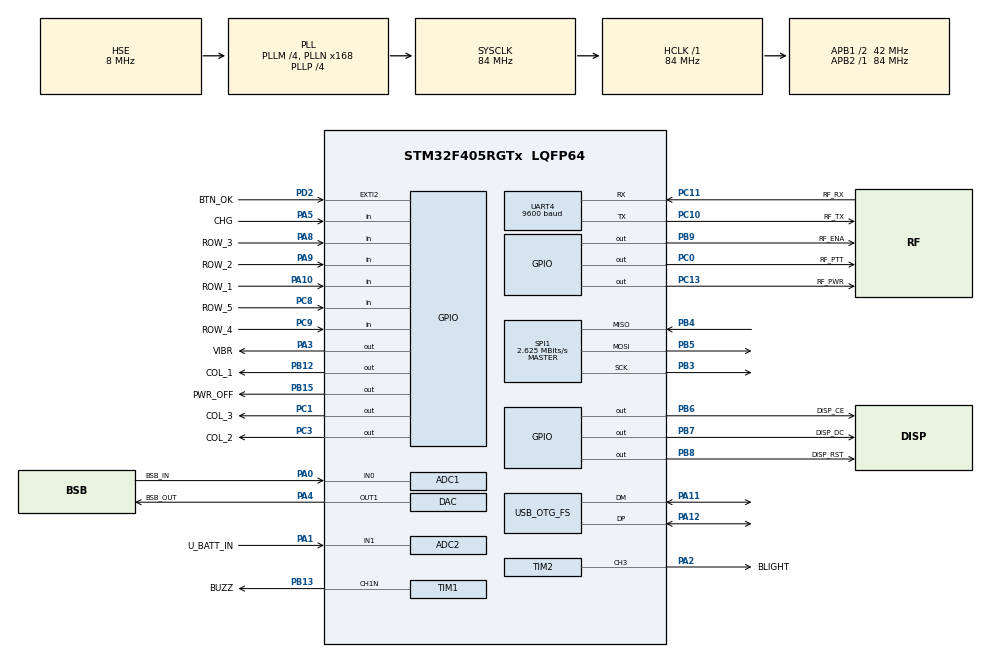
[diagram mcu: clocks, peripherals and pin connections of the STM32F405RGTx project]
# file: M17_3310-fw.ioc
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ADC1.Channel-0\#ChannelRegularConversion=ADC_CHANNEL_0
ADC1.ContinuousConvMode=DISABLE
ADC1.DMAContinuousRequests=ENABLE
ADC1.DiscontinuousConvMode=DISABLE
ADC1.EOCSelection=ADC_EOC_SINGLE_CONV
ADC1.ExternalTrigConv=ADC_EXTERNALTRIGCONV_T8_TRGO
ADC1.InjNumberOfConversion=0
ADC1.NbrOfConversion=1
ADC1.NbrOfConversionFlag=1
ADC1.Rank-0\#ChannelRegularConversion=1
ADC1.SamplingTime-0\#ChannelRegularConversion=ADC_SAMPLETIME_84CYCLES
ADC1.master=1
ADC2.Channel-0\#ChannelRegularConversion=ADC_CHANNEL_1
ADC2.DMAContinuousRequests=ENABLE
ADC2.ExternalTrigConv=ADC_EXTERNALTRIGCONV_T3_TRGO
ADC2.NbrOfConversionFlag=1
ADC2.Rank-0\#ChannelRegularConversion=1
ADC2.SamplingTime-0\#ChannelRegularConversion=ADC_SAMPLETIME_3CYCLES
DAC.DAC_Trigger=DAC_TRIGGER_T6_TRGO
Dma.ADC1.1.Direction=DMA_PERIPH_TO_MEMORY
Dma.ADC1.1.FIFOMode=DMA_FIFOMODE_DISABLE
Dma.ADC1.1.Instance=DMA2_Stream0
Dma.ADC1.1.MemDataAlignment=DMA_MDATAALIGN_HALFWORD
Dma.ADC1.1.MemInc=DMA_MINC_ENABLE
Dma.ADC1.1.Mode=DMA_CIRCULAR
Dma.ADC1.1.PeriphDataAlignment=DMA_PDATAALIGN_HALFWORD
Dma.ADC1.1.PeriphInc=DMA_PINC_DISABLE
Dma.ADC1.1.Priority=DMA_PRIORITY_LOW
Dma.ADC2.2.Direction=DMA_PERIPH_TO_MEMORY
Dma.ADC2.2.FIFOMode=DMA_FIFOMODE_DISABLE
Dma.ADC2.2.Instance=DMA2_Stream2
Dma.ADC2.2.MemDataAlignment=DMA_MDATAALIGN_HALFWORD
Dma.ADC2.2.MemInc=DMA_MINC_ENABLE
Dma.ADC2.2.Mode=DMA_CIRCULAR
Dma.ADC2.2.PeriphDataAlignment=DMA_PDATAALIGN_HALFWORD
Dma.ADC2.2.PeriphInc=DMA_PINC_DISABLE
Dma.ADC2.2.Priority=DMA_PRIORITY_LOW
Dma.DAC1.0.Direction=DMA_MEMORY_TO_PERIPH
Dma.DAC1.0.FIFOMode=DMA_FIFOMODE_DISABLE
Dma.DAC1.0.Instance=DMA1_Stream5
Dma.DAC1.0.MemDataAlignment=DMA_MDATAALIGN_HALFWORD
Dma.DAC1.0.MemInc=DMA_MINC_ENABLE
Dma.DAC1.0.Mode=DMA_CIRCULAR
Dma.DAC1.0.PeriphDataAlignment=DMA_PDATAALIGN_HALFWORD
Dma.DAC1.0.PeriphInc=DMA_PINC_DISABLE
Dma.DAC1.0.Priority=DMA_PRIORITY_LOW
Dma.Request0=DAC1
Dma.Request1=ADC1
Dma.Request2=ADC2
Mcu.Family=STM32F4
Mcu.Name=STM32F405RGTx
Mcu.Package=LQFP64
NVIC.ADC_IRQn=true\:0\:0\:false\:false\:true\:true\:true\:true
NVIC.DMA1_Stream5_IRQn=true\:0\:0\:false\:false\:true\:false\:true\:true
NVIC.DMA2_Stream0_IRQn=true\:0\:0\:false\:false\:true\:false\:true\:true
NVIC.DMA2_Stream2_IRQn=true\:0\:0\:false\:false\:true\:false\:true\:true
NVIC.OTG_FS_IRQn=true\:0\:0\:false\:false\:true\:true\:true\:true
NVIC.PriorityGroup=NVIC_PRIORITYGROUP_4
NVIC.TIM3_IRQn=true\:0\:0\:false\:false\:true\:true\:true\:true
NVIC.TIM6_DAC_IRQn=true\:0\:0\:false\:false\:true\:true\:true\:true
NVIC.TIM7_IRQn=true\:0\:0\:false\:false\:true\:true\:true\:true
NVIC.TIM8_TRG_COM_TIM14_IRQn=true\:0\:0\:false\:false\:true\:true\:true\:true
NVIC.TIM8_UP_TIM13_IRQn=true\:0\:0\:false\:false\:true\:true\:true\:true
PA0-WKUP.GPIO_Label=BSB_IN
PA0-WKUP.Signal=ADCx_IN0
PA1.GPIO_Label=U_BATT_IN
PA1.Signal=ADCx_IN1
PA10.GPIO_Label=ROW_1
PA10.GPIO_PuPd=GPIO_NOPULL
PA10.Signal=GPIO_Input
PA11.Mode=Device_Only
PA11.Signal=USB_OTG_FS_DM
PA12.Mode=Device_Only
PA12.Signal=USB_OTG_FS_DP
PA13.Mode=Serial_Wire
PA13.Signal=SYS_JTMS-SWDIO
PA14.Mode=Serial_Wire
PA14.Signal=SYS_JTCK-SWCLK
PA2.GPIO_Label=BLIGHT
PA2.Signal=S_TIM2_CH3
PA3.GPIO_Label=VIBR
PA3.Signal=GPIO_Output
PA4.GPIO_Label=BSB_OUT
PA4.Signal=COMP_DAC1_group
PA5.GPIO_Label=CHG
PA5.Signal=GPIO_Input
PA8.GPIO_Label=ROW_3
PA8.GPIO_PuPd=GPIO_NOPULL
PA8.Signal=GPIO_Input
PA9.GPIO_Label=ROW_2
PA9.GPIO_PuPd=GPIO_NOPULL
PA9.Signal=GPIO_Input
PB12.GPIO_Label=COL_1
PB12.GPIO_Speed=GPIO_SPEED_FREQ_VERY_HIGH
PB12.Signal=GPIO_Output
PB13.GPIO_Label=BUZZ
PB13.Mode=PWM Generation1 CH1N
PB13.Signal=TIM1_CH1N
PB15.GPIO_Label=PWR_OFF
PB15.Signal=GPIO_Output
PB3.Mode=Full_Duplex_Master
PB3.Signal=SPI1_SCK
PB4.Mode=Full_Duplex_Master
PB4.Signal=SPI1_MISO
PB5.Mode=Full_Duplex_Master
PB5.Signal=SPI1_MOSI
PB6.GPIO_Label=DISP_CE
PB6.GPIO_Speed=GPIO_SPEED_FREQ_VERY_HIGH
PB6.Signal=GPIO_Output
PB7.GPIO_Label=DISP_DC
PB7.GPIO_Speed=GPIO_SPEED_FREQ_VERY_HIGH
PB7.Signal=GPIO_Output
PB8.GPIO_Label=DISP_RST
PB8.GPIO_Speed=GPIO_SPEED_FREQ_VERY_HIGH
PB8.Signal=GPIO_Output
PB9.GPIO_Label=RF_ENA
PB9.Signal=GPIO_Output
PC0.GPIO_Label=RF_PTT
PC0.GPIO_Speed=GPIO_SPEED_FREQ_LOW
PC0.PinState=GPIO_PIN_SET
PC0.Signal=GPIO_Output
PC1.GPIO_Label=COL_3
PC1.GPIO_Speed=GPIO_SPEED_FREQ_VERY_HIGH
PC1.Signal=GPIO_Output
PC10.GPIO_Label=RF_TX
PC10.Mode=Asynchronous
PC10.Signal=UART4_TX
PC11.GPIO_Label=RF_RX
PC11.Mode=Asynchronous
PC11.Signal=UART4_RX
PC13-ANTI_TAMP.GPIO_Label=RF_PWR
PC13-ANTI_TAMP.PinState=GPIO_PIN_SET
PC13-ANTI_TAMP.Signal=GPIO_Output
PC3.GPIO_Label=COL_2
PC3.GPIO_Speed=GPIO_SPEED_FREQ_VERY_HIGH
PC3.Signal=GPIO_Output
PC8.GPIO_Label=ROW_5
PC8.Signal=GPIO_Input
PC9.GPIO_Label=ROW_4
PC9.Signal=GPIO_Input
PD2.GPIO_Label=BTN_OK
PD2.GPIO_PuPd=GPIO_PULLDOWN
PD2.Signal=GPXTI2
PH0-OSC_IN.Mode=HSE-External-Oscillator
PH0-OSC_IN.Signal=RCC_OSC_IN
PH1-OSC_OUT.Mode=HSE-External-Oscillator
PH1-OSC_OUT.Signal=RCC_OSC_OUT
ProjectManager.HeapSize=0x200
ProjectManager.StackSize=0x400
ProjectManager.TargetToolchain=STM32CubeIDE
RCC.48MHZClocksFreq_Value=48000000
RCC.AHBFreq_Value=84000000
RCC.APB1CLKDivider=RCC_HCLK_DIV2
RCC.APB1Freq_Value=42000000
RCC.APB1TimFreq_Value=84000000
RCC.APB2CLKDivider=RCC_HCLK_DIV1
RCC.APB2Freq_Value=84000000
RCC.APB2TimFreq_Value=84000000
RCC.CortexFreq_Value=84000000
RCC.HCLKFreq_Value=84000000
RCC.HSE_VALUE=8000000
RCC.HSI_VALUE=16000000
RCC.LSE_VALUE=32768
RCC.PLLM=4
RCC.PLLN=168
RCC.PLLP=RCC_PLLP_DIV4
RCC.PLLQ=7
RCC.RCC_RTC_Clock_Source=RCC_RTCCLKSOURCE_LSI
RCC.RCC_RTC_Clock_SourceVirtual=RCC_RTCCLKSOURCE_HSE_DIV25
RCC.RCC_RTC_Clock_Source_FROM_HSE=RCC_RTCCLKSOURCE_HSE_DIV25
RCC.SYSCLKFreq_VALUE=84000000
RCC.SYSCLKSource=RCC_SYSCLKSOURCE_PLLCLK
RCC.VCOOutputFreq_Value=336000000
SH.ADCx_IN0.0=ADC1_IN0,IN0
SH.ADCx_IN1.0=ADC2_IN1,IN1
SH.COMP_DAC1_group.0=DAC_OUT1,DAC_OUT1
SH.S_TIM2_CH3.0=TIM2_CH3,PWM Generation3 CH3
SPI1.BaudRatePrescaler=SPI_BAUDRATEPRESCALER_32
SPI1.CalculateBaudRate=2.625 MBits/s
SPI1.Direction=SPI_DIRECTION_2LINES
SPI1.Mode=SPI_MODE_MASTER
SPI1.VirtualType=VM_MASTER
TIM1.AutoReloadPreload=TIM_AUTORELOAD_PRELOAD_ENABLE
TIM1.Channel-PWM\ Generation1\ CH1N=TIM_CHANNEL_1
TIM1.OCNPolarity_1=TIM_OCNPOLARITY_LOW
TIM1.Period=10-1
TIM1.Prescaler=8400-1
TIM1.Pulse-PWM\ Generation1\ CH1N=4
TIM14.AutoReloadPreload=TIM_AUTORELOAD_PRELOAD_DISABLE
TIM14.Period=42000-1
TIM14.Prescaler=2000-1
TIM2.AutoReloadPreload=TIM_AUTORELOAD_PRELOAD_ENABLE
TIM2.Channel-PWM\ Generation3\ CH3=TIM_CHANNEL_3
TIM2.Period=256-1
TIM2.Prescaler=35-1
TIM3.Period=16800-1
TIM3.Prescaler=2000-1
TIM3.TIM_MasterOutputTrigger=TIM_TRGO_UPDATE
TIM6.Period=1750-1
TIM6.Prescaler=1-1
TIM6.TIM_MasterOutputTrigger=TIM_TRGO_UPDATE
TIM7.Period=5000-1
TIM7.Prescaler=8400-1
TIM7.TIM_MasterOutputTrigger=TIM_TRGO_UPDATE
TIM8.Period=3500-1
TIM8.Prescaler=1-1
TIM8.TIM_MasterOutputTrigger=TIM_TRGO_UPDATE
UART4.BaudRate=9600
UART4.VirtualMode=Asynchronous
USB_DEVICE.CLASS_NAME_FS=CDC
USB_DEVICE.PRODUCT_STRING_CDC_FS=STM32 Virtual ComPort
USB_DEVICE.VirtualMode-CDC_FS=Cdc
USB_DEVICE.VirtualModeFS=Cdc_FS
USB_OTG_FS.VirtualMode=Device_Only
VP_RTC_VS_RTC_Activate.Mode=RTC_Enabled
VP_RTC_VS_RTC_Calendar.Mode=RTC_Calendar
VP_TIM14_VS_ClockSourceINT.Mode=Enable_Timer
VP_TIM1_VS_ClockSourceINT.Mode=Internal
VP_TIM2_VS_ClockSourceINT.Mode=Internal
VP_TIM3_VS_ClockSourceINT.Mode=Internal
VP_TIM6_VS_ClockSourceINT.Mode=Enable_Timer
VP_TIM7_VS_ClockSourceINT.Mode=Enable_Timer
VP_TIM8_VS_ClockSourceINT.Mode=Internal
VP_USB_DEVICE_VS_USB_DEVICE_CDC_FS.Mode=CDC_FS
board=custom

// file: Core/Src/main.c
/* USER CODE BEGIN Header */
/**
  ******************************************************************************
  * @file           : main.c
  * @brief          : Main program body
  ******************************************************************************
  * @attention
  *
  * Copyright (c) 2024 STMicroelectronics.
  * All rights reserved.
  *
  * This software is licensed under terms that can be found in the LICENSE file
  * in the root directory of this software component.
  * If no LICENSE file comes with this software, it is provided AS-IS.
  *
  ******************************************************************************
  */
/* USER CODE END Header */
#include "main.h"
#include "usb_device.h"

/* USER CODE BEGIN Includes */
#include "typedefs.h"
#include "keymaps.h"
#include "menus.h"
#include "settings.h"
#include "ring.h"
#include "display.h"
#include "dsp.h"
#include "platform.h"
#include "keypad.h"
#include "ringtones.h"
#include "rf_module.h"
#include "nvmem.h"
#include "usb_cmds.h"
#include "text_entry.h"
#include "debug.h"
#include "m17_tx.h"
#include "m17_rx.h"
#include "ui.h"
#include "inbox.h"
#include "tuning.h"
#include "codeplug.h"
/* USER CODE END Includes */

/* USER CODE BEGIN PM */
#include "macros.h"
/* USER CODE END PM */

ADC_HandleTypeDef hadc1;
ADC_HandleTypeDef hadc2;
DMA_HandleTypeDef hdma_adc1;
DMA_HandleTypeDef hdma_adc2;

DAC_HandleTypeDef hdac;
DMA_HandleTypeDef hdma_dac1;

RTC_HandleTypeDef hrtc;

SPI_HandleTypeDef hspi1;

TIM_HandleTypeDef htim1;
TIM_HandleTypeDef htim2;
TIM_HandleTypeDef htim3;
TIM_HandleTypeDef htim6;
TIM_HandleTypeDef htim7;
TIM_HandleTypeDef htim8;
TIM_HandleTypeDef htim14;

UART_HandleTypeDef huart4;

/* USER CODE BEGIN PV */
//display
uint8_t disp_buff[DISP_BUFF_SIZ];
disp_dev_t disp_dev;

//usb-related (filled by CDC_Receive_FS)
uint8_t usb_rx[APP_RX_DATA_SIZE + 1];
uint32_t usb_len;
volatile uint8_t usb_drdy;

//default channel settings
const ch_settings_t def_channel =
{
	RF_MODE_DIG,
	RF_BW_12K5,
	RF_PWR_LOW,
	"M17 IARU R1",
	433475000,
	433475000,
	"@ALL",
	0
};

dev_settings_t def_dev_settings =
{
	.src_callsign = "N0KIA",
	.welcome_msg = {"OpenRTX", "rulez"},

	.backlight_level = 200,
	.backlight_timer = 5,
	.backlight_always = 0,
	.kbd_timeout = 750,
	.kbd_delay = 150,
	.freq_corr = 0.0f,

	.tuning_mode = TUNING_VFO,
	.channel = def_channel,
	.ch_num = 0,

	.refl_name = "@ALL",

	.ext =
	{
		.vfo = def_channel,
		.vfo_step = VFO_STEP_DEFAULT,
		.splash_time = 2,
		.contrast = LCD_CONTRAST_DEFAULT,
		.ringtone = 1,
		.vibration = 1,
		.ukrainian = 0
	}
};

dev_settings_t dev_settings;

//radio
radio_state_t radio_state;

//ADC
volatile uint16_t batt_adc;
/* USER CODE END PV */

void SystemClock_Config(void);
static void MX_GPIO_Init(void);
static void MX_DMA_Init(void);
static void MX_ADC1_Init(void);
static void MX_DAC_Init(void);
static void MX_RTC_Init(void);
static void MX_TIM1_Init(void);
static void MX_TIM2_Init(void);
static void MX_UART4_Init(void);
static void MX_SPI1_Init(void);
static void MX_TIM7_Init(void);
static void MX_TIM6_Init(void);
static void MX_TIM14_Init(void);
static void MX_TIM8_Init(void);
static void MX_ADC2_Init(void);
static void MX_TIM3_Init(void);

/* USER CODE BEGIN 0 */
//sleep until the next interrupt if there is nothing to do
//SysTick (1 ms), DMA, USB and timer interrupts wake the core up
static void idleSleep(void)
{
	uint16_t batch = m17RxSamplesNeeded();
	if (batch < 120) //process RX samples in batches of ~5 ms
		batch = 120;

	__disable_irq();
	if (!m17TxRefillPending() && !usb_drdy &&
		(radio_state != RF_RX || demodSamplesGetNum() < batch))
	{
		__DSB();
		__WFI(); //a pending interrupt wakes the core even with PRIMASK set
	}
	__enable_irq();
}
/* USER CODE END 0 */

int main(void)
{

  /* MCU Configuration--------------------------------------------------------*/

  /* Reset of all peripherals, Initializes the Flash interface and the Systick. */
  HAL_Init();

  /* Configure the system clock */
  SystemClock_Config();

  /* Initialize all configured peripherals */
  MX_GPIO_Init();
  MX_DMA_Init();
  MX_ADC1_Init();
  MX_DAC_Init();
  MX_RTC_Init();
  MX_TIM1_Init();
  MX_TIM2_Init();
  MX_UART4_Init();
  MX_SPI1_Init();
  MX_TIM7_Init();
  MX_USB_DEVICE_Init();
  MX_TIM6_Init();
  MX_TIM14_Init();
  MX_TIM8_Init();
  MX_ADC2_Init();
  MX_TIM3_Init();
  /* USER CODE BEGIN 2 */
  #if (__FPU_PRESENT == 1) && (__FPU_USED == 1)
  SCB->CPACR |= ((3UL << 20U)|(3UL << 22U));  /* set CP10 and CP11 Full Access */
  #endif

  #ifdef DEBUG
  DBGMCU->CR |= DBGMCU_CR_DBG_SLEEP; //keep the debugger connected during WFI
  #endif

  //12-bit backlight PWM
  backlightInit();

  //set baseband DAC to idle (TIM6 runs only during transmissions)
  m17TxInit();

  //start battery voltage sampling
  HAL_ADC_Start_DMA(&hadc2, (uint32_t*)&batt_adc, 1);
  HAL_TIM_Base_Start(&htim3); // 5Hz for battery voltage sampling

  HAL_Delay(200);

  //init display
  disp_dev = (disp_dev_t){&hspi1, disp_buff};
  dispInit(&disp_dev);
  dispClear(&disp_dev, 0);
  dispFlush(&disp_dev);
  setBacklight(0);

  //load settings from NVMEM
  loadDeviceSettings(&dev_settings, &def_dev_settings);
  codeplugLoad();
  tuneInit(&dev_settings); //active channel: VFO or memory
  dispSetContrast(&disp_dev, dev_settings.ext.contrast);

  //display splash screen (the slow initialization below runs meanwhile)
  uint32_t splash_start = HAL_GetTick();
  if (dev_settings.ext.splash_time)
	  dispSplash(&disp_dev, dev_settings.welcome_msg[0], dev_settings.welcome_msg[1], dev_settings.src_callsign);

  //turn on backlight if required
  setBacklight(dev_settings.backlight_level);
  setBacklightTimer(dev_settings.backlight_timer);
  if(!dev_settings.backlight_always)
  {
	  //enable backlight timeout
	  startBacklightTimer();
  }

  //init SA868S RF module
  radio_state = RF_RX;
  initRF(&dev_settings);
  setRF(radio_state);
  chBwRF(RF_BW_25K); //TODO: get rid of this workaround

  //start baseband sampling (24kHz ADC)
  m17RxReset();
  bsbRxStart();

  //keypad timeout
  setKeysTimeout(dev_settings.kbd_timeout);

  //stored messages
  inboxInit();

  //keep the splash screen up for the configured time, any key skips it
  if (dev_settings.ext.splash_time)
  {
	  while ((HAL_GetTick() - splash_start) < (uint32_t)dev_settings.ext.splash_time * 1000U)
	  {
		  if (scanKeys(radio_state, dev_settings.kbd_delay) != KEY_NONE)
			  break;
		  demodResync(); //nobody processes the RX samples yet
	  }

	  //don't let the key that skipped the splash act on the main screen
	  uint32_t t0 = HAL_GetTick();
	  while (keyHeld() && (HAL_GetTick() - t0) < 1000U)
		  ;
  }
  demodResync();

  //menu init
  uiInit(&disp_dev);
  dispFlush(&disp_dev);

  //start the watchdog after the (slow) initialization
  wdgInit();

  uint32_t t_last = HAL_GetTick();
  /* USER CODE END 2 */

  /* Infinite loop */
  /* USER CODE BEGIN WHILE */
  while(1)
  {
	  uint32_t t_now = HAL_GetTick();

	  wdgKick();

	  //handle key presses
	  uiHandleKey(scanKeys(radio_state, dev_settings.kbd_delay));

	  //once per second
	  if (t_now - t_last >= 1000)
	  {
		  t_last = t_now;

		  if (radio_state == RF_RX)
		  {
			  //refresh main screen data
			  uiSecondTick();

			  //protect the battery from deep discharge
			  if (battCheckEmpty())
			  {
				  setBacklight(dev_settings.backlight_level);
				  dispClear(&disp_dev, COL_WHITE);
				  setString(&disp_dev, 0, 17, &nokia_big, "Batt empty", COL_BLACK, ALIGN_CENTER);
				  dispFlush(&disp_dev);
				  HAL_Delay(2000);
				  powerOff();
			  }
		  }
	  }

	  //packet transmission in progress - refill the baseband buffer
	  if (m17TxProcess())
	  {
		  //done
		  uiTxDone();
	  }

	  //received data over USB (deferred while transmitting - Flash writes
	  //and RF register access would disturb the transmission)
	  if (usb_drdy && !m17TxActive())
	  {
		  parseUSB(usb_rx, usb_len);
		  usb_drdy = 0;
	  }

	  //demodulate baseband samples
	  if (radio_state == RF_RX && m17RxProcess())
	  {
		  inboxAdd(&rcvd_msg);
		  uiMessageReceived();
	  }

	  ringtoneTick();
	  uiTick();
	  platformTick();

	  //send the frame buffer to the display (if anything has changed)
	  dispFlush(&disp_dev);

	  idleSleep();
    /* USER CODE END WHILE */

  }
}

void SystemClock_Config(void)
{
  RCC_OscInitTypeDef RCC_OscInitStruct = {0};
  RCC_ClkInitTypeDef RCC_ClkInitStruct = {0};

  /** Configure the main internal regulator output voltage
  */
  __HAL_RCC_PWR_CLK_ENABLE();
  __HAL_PWR_VOLTAGESCALING_CONFIG(PWR_REGULATOR_VOLTAGE_SCALE1);

  /** Initializes the RCC Oscillators according to the specified parameters
  * in the RCC_OscInitTypeDef structure.
  */
  RCC_OscInitStruct.OscillatorType = RCC_OSCILLATORTYPE_LSI|RCC_OSCILLATORTYPE_HSE;
  RCC_OscInitStruct.HSEState = RCC_HSE_ON;
  RCC_OscInitStruct.LSIState = RCC_LSI_ON;
  RCC_OscInitStruct.PLL.PLLState = RCC_PLL_ON;
  RCC_OscInitStruct.PLL.PLLSource = RCC_PLLSOURCE_HSE;
  RCC_OscInitStruct.PLL.PLLM = 4;
  RCC_OscInitStruct.PLL.PLLN = 168;
  RCC_OscInitStruct.PLL.PLLP = RCC_PLLP_DIV4;
  RCC_OscInitStruct.PLL.PLLQ = 7;
  if (HAL_RCC_OscConfig(&RCC_OscInitStruct) != HAL_OK)
  {
    Error_Handler();
  }

  /** Initializes the CPU, AHB and APB buses clocks
  */
  RCC_ClkInitStruct.ClockType = RCC_CLOCKTYPE_HCLK|RCC_CLOCKTYPE_SYSCLK
                              |RCC_CLOCKTYPE_PCLK1|RCC_CLOCKTYPE_PCLK2;
  RCC_ClkInitStruct.SYSCLKSource = RCC_SYSCLKSOURCE_PLLCLK;
  RCC_ClkInitStruct.AHBCLKDivider = RCC_SYSCLK_DIV1;
  RCC_ClkInitStruct.APB1CLKDivider = RCC_HCLK_DIV2;
  RCC_ClkInitStruct.APB2CLKDivider = RCC_HCLK_DIV1;

  if (HAL_RCC_ClockConfig(&RCC_ClkInitStruct, FLASH_LATENCY_2) != HAL_OK)
  {
    Error_Handler();
  }
}

static void MX_ADC1_Init(void)
{

  ADC_ChannelConfTypeDef sConfig = {0};

  /** Configure the global features of the ADC (Clock, Resolution, Data Alignment and number of conversion)
  */
  hadc1.Instance = ADC1;
  hadc1.Init.ClockPrescaler = ADC_CLOCK_SYNC_PCLK_DIV4;
  hadc1.Init.Resolution = ADC_RESOLUTION_12B;
  hadc1.Init.ScanConvMode = DISABLE;
  hadc1.Init.ContinuousConvMode = DISABLE;
  hadc1.Init.DiscontinuousConvMode = DISABLE;
  hadc1.Init.ExternalTrigConvEdge = ADC_EXTERNALTRIGCONVEDGE_RISING;
  hadc1.Init.ExternalTrigConv = ADC_EXTERNALTRIGCONV_T8_TRGO;
  hadc1.Init.DataAlign = ADC_DATAALIGN_RIGHT;
  hadc1.Init.NbrOfConversion = 1;
  hadc1.Init.DMAContinuousRequests = ENABLE;
  hadc1.Init.EOCSelection = ADC_EOC_SINGLE_CONV;
  if (HAL_ADC_Init(&hadc1) != HAL_OK)
  {
    Error_Handler();
  }

  /** Configure for the selected ADC regular channel its corresponding rank in the sequencer and its sample time.
  */
  sConfig.Channel = ADC_CHANNEL_0;
  sConfig.Rank = 1;
  sConfig.SamplingTime = ADC_SAMPLETIME_84CYCLES;
  if (HAL_ADC_ConfigChannel(&hadc1, &sConfig) != HAL_OK)
  {
    Error_Handler();
  }

}

static void MX_ADC2_Init(void)
{

  ADC_ChannelConfTypeDef sConfig = {0};

  /** Configure the global features of the ADC (Clock, Resolution, Data Alignment and number of conversion)
  */
  hadc2.Instance = ADC2;
  hadc2.Init.ClockPrescaler = ADC_CLOCK_SYNC_PCLK_DIV4;
  hadc2.Init.Resolution = ADC_RESOLUTION_12B;
  hadc2.Init.ScanConvMode = DISABLE;
  hadc2.Init.ContinuousConvMode = DISABLE;
  hadc2.Init.DiscontinuousConvMode = DISABLE;
  hadc2.Init.ExternalTrigConvEdge = ADC_EXTERNALTRIGCONVEDGE_RISING;
  hadc2.Init.ExternalTrigConv = ADC_EXTERNALTRIGCONV_T3_TRGO;
  hadc2.Init.DataAlign = ADC_DATAALIGN_RIGHT;
  hadc2.Init.NbrOfConversion = 1;
  hadc2.Init.DMAContinuousRequests = ENABLE;
  hadc2.Init.EOCSelection = ADC_EOC_SINGLE_CONV;
  if (HAL_ADC_Init(&hadc2) != HAL_OK)
  {
    Error_Handler();
  }

  /** Configure for the selected ADC regular channel its corresponding rank in the sequencer and its sample time.
  */
  sConfig.Channel = ADC_CHANNEL_1;
  sConfig.Rank = 1;
  sConfig.SamplingTime = ADC_SAMPLETIME_3CYCLES;
  if (HAL_ADC_ConfigChannel(&hadc2, &sConfig) != HAL_OK)
  {
    Error_Handler();
  }

}

static void MX_DAC_Init(void)
{

  DAC_ChannelConfTypeDef sConfig = {0};

  /** DAC Initialization
  */
  hdac.Instance = DAC;
  if (HAL_DAC_Init(&hdac) != HAL_OK)
  {
    Error_Handler();
  }

  /** DAC channel OUT1 config
  */
  sConfig.DAC_Trigger = DAC_TRIGGER_T6_TRGO;
  sConfig.DAC_OutputBuffer = DAC_OUTPUTBUFFER_ENABLE;
  if (HAL_DAC_ConfigChannel(&hdac, &sConfig, DAC_CHANNEL_1) != HAL_OK)
  {
    Error_Handler();
  }

}

static void MX_RTC_Init(void)
{

  RTC_TimeTypeDef sTime = {0};
  RTC_DateTypeDef sDate = {0};

  /** Initialize RTC Only
  */
  hrtc.Instance = RTC;
  hrtc.Init.HourFormat = RTC_HOURFORMAT_24;
  hrtc.Init.AsynchPrediv = 127;
  hrtc.Init.SynchPrediv = 255;
  hrtc.Init.OutPut = RTC_OUTPUT_DISABLE;
  hrtc.Init.OutPutPolarity = RTC_OUTPUT_POLARITY_HIGH;
  hrtc.Init.OutPutType = RTC_OUTPUT_TYPE_OPENDRAIN;
  if (HAL_RTC_Init(&hrtc) != HAL_OK)
  {
    Error_Handler();
  }

  /** Initialize RTC and set the Time and Date
  */
  sTime.Hours = 0x0;
  sTime.Minutes = 0x0;
  sTime.Seconds = 0x0;
  sTime.DayLightSaving = RTC_DAYLIGHTSAVING_NONE;
  sTime.StoreOperation = RTC_STOREOPERATION_RESET;
  if (HAL_RTC_SetTime(&hrtc, &sTime, RTC_FORMAT_BCD) != HAL_OK)
  {
    Error_Handler();
  }
  sDate.WeekDay = RTC_WEEKDAY_MONDAY;
  sDate.Month = RTC_MONTH_JANUARY;
  sDate.Date = 0x1;
  sDate.Year = 0x0;

  if (HAL_RTC_SetDate(&hrtc, &sDate, RTC_FORMAT_BCD) != HAL_OK)
  {
    Error_Handler();
  }

}

static void MX_SPI1_Init(void)
{

  /* SPI1 parameter configuration*/
  hspi1.Instance = SPI1;
  hspi1.Init.Mode = SPI_MODE_MASTER;
  hspi1.Init.Direction = SPI_DIRECTION_2LINES;
  hspi1.Init.DataSize = SPI_DATASIZE_8BIT;
  hspi1.Init.CLKPolarity = SPI_POLARITY_LOW;
  hspi1.Init.CLKPhase = SPI_PHASE_1EDGE;
  hspi1.Init.NSS = SPI_NSS_SOFT;
  hspi1.Init.BaudRatePrescaler = SPI_BAUDRATEPRESCALER_32;
  hspi1.Init.FirstBit = SPI_FIRSTBIT_MSB;
  hspi1.Init.TIMode = SPI_TIMODE_DISABLE;
  hspi1.Init.CRCCalculation = SPI_CRCCALCULATION_DISABLE;
  hspi1.Init.CRCPolynomial = 10;
  if (HAL_SPI_Init(&hspi1) != HAL_OK)
  {
    Error_Handler();
  }

}

static void MX_TIM1_Init(void)
{

  TIM_ClockConfigTypeDef sClockSourceConfig = {0};
  TIM_MasterConfigTypeDef sMasterConfig = {0};
  TIM_OC_InitTypeDef sConfigOC = {0};
  TIM_BreakDeadTimeConfigTypeDef sBreakDeadTimeConfig = {0};

  htim1.Instance = TIM1;
  htim1.Init.Prescaler = 8400-1;
  htim1.Init.CounterMode = TIM_COUNTERMODE_UP;
  htim1.Init.Period = 10-1;
  htim1.Init.ClockDivision = TIM_CLOCKDIVISION_DIV1;
  htim1.Init.RepetitionCounter = 0;
  htim1.Init.AutoReloadPreload = TIM_AUTORELOAD_PRELOAD_ENABLE;
  if (HAL_TIM_Base_Init(&htim1) != HAL_OK)
  {
    Error_Handler();
  }
  sClockSourceConfig.ClockSource = TIM_CLOCKSOURCE_INTERNAL;
  if (HAL_TIM_ConfigClockSource(&htim1, &sClockSourceConfig) != HAL_OK)
  {
    Error_Handler();
  }
  if (HAL_TIM_PWM_Init(&htim1) != HAL_OK)
  {
    Error_Handler();
  }
  sMasterConfig.MasterOutputTrigger = TIM_TRGO_RESET;
  sMasterConfig.MasterSlaveMode = TIM_MASTERSLAVEMODE_DISABLE;
  if (HAL_TIMEx_MasterConfigSynchronization(&htim1, &sMasterConfig) != HAL_OK)
  {
    Error_Handler();
  }
  sConfigOC.OCMode = TIM_OCMODE_PWM1;
  sConfigOC.Pulse = 4;
  sConfigOC.OCPolarity = TIM_OCPOLARITY_HIGH;
  sConfigOC.OCNPolarity = TIM_OCNPOLARITY_LOW;
  sConfigOC.OCFastMode = TIM_OCFAST_DISABLE;
  sConfigOC.OCIdleState = TIM_OCIDLESTATE_RESET;
  sConfigOC.OCNIdleState = TIM_OCNIDLESTATE_RESET;
  if (HAL_TIM_PWM_ConfigChannel(&htim1, &sConfigOC, TIM_CHANNEL_1) != HAL_OK)
  {
    Error_Handler();
  }
  sBreakDeadTimeConfig.OffStateRunMode = TIM_OSSR_DISABLE;
  sBreakDeadTimeConfig.OffStateIDLEMode = TIM_OSSI_DISABLE;
  sBreakDeadTimeConfig.LockLevel = TIM_LOCKLEVEL_OFF;
  sBreakDeadTimeConfig.DeadTime = 0;
  sBreakDeadTimeConfig.BreakState = TIM_BREAK_DISABLE;
  sBreakDeadTimeConfig.BreakPolarity = TIM_BREAKPOLARITY_HIGH;
  sBreakDeadTimeConfig.AutomaticOutput = TIM_AUTOMATICOUTPUT_DISABLE;
  if (HAL_TIMEx_ConfigBreakDeadTime(&htim1, &sBreakDeadTimeConfig) != HAL_OK)
  {
    Error_Handler();
  }
  HAL_TIM_MspPostInit(&htim1);

}

static void MX_TIM2_Init(void)
{

  TIM_ClockConfigTypeDef sClockSourceConfig = {0};
  TIM_MasterConfigTypeDef sMasterConfig = {0};
  TIM_OC_InitTypeDef sConfigOC = {0};

  htim2.Instance = TIM2;
  htim2.Init.Prescaler = 35-1;
  htim2.Init.CounterMode = TIM_COUNTERMODE_UP;
  htim2.Init.Period = 256-1;
  htim2.Init.ClockDivision = TIM_CLOCKDIVISION_DIV1;
  htim2.Init.AutoReloadPreload = TIM_AUTORELOAD_PRELOAD_ENABLE;
  if (HAL_TIM_Base_Init(&htim2) != HAL_OK)
  {
    Error_Handler();
  }
  sClockSourceConfig.ClockSource = TIM_CLOCKSOURCE_INTERNAL;
  if (HAL_TIM_ConfigClockSource(&htim2, &sClockSourceConfig) != HAL_OK)
  {
    Error_Handler();
  }
  if (HAL_TIM_PWM_Init(&htim2) != HAL_OK)
  {
    Error_Handler();
  }
  sMasterConfig.MasterOutputTrigger = TIM_TRGO_RESET;
  sMasterConfig.MasterSlaveMode = TIM_MASTERSLAVEMODE_DISABLE;
  if (HAL_TIMEx_MasterConfigSynchronization(&htim2, &sMasterConfig) != HAL_OK)
  {
    Error_Handler();
  }
  sConfigOC.OCMode = TIM_OCMODE_PWM1;
  sConfigOC.Pulse = 0;
  sConfigOC.OCPolarity = TIM_OCPOLARITY_HIGH;
  sConfigOC.OCFastMode = TIM_OCFAST_DISABLE;
  if (HAL_TIM_PWM_ConfigChannel(&htim2, &sConfigOC, TIM_CHANNEL_3) != HAL_OK)
  {
    Error_Handler();
  }
  HAL_TIM_MspPostInit(&htim2);

}

static void MX_TIM3_Init(void)
{

  TIM_ClockConfigTypeDef sClockSourceConfig = {0};
  TIM_MasterConfigTypeDef sMasterConfig = {0};

  htim3.Instance = TIM3;
  htim3.Init.Prescaler = 2000-1;
  htim3.Init.CounterMode = TIM_COUNTERMODE_UP;
  htim3.Init.Period = 16800-1;
  htim3.Init.ClockDivision = TIM_CLOCKDIVISION_DIV1;
  htim3.Init.AutoReloadPreload = TIM_AUTORELOAD_PRELOAD_DISABLE;
  if (HAL_TIM_Base_Init(&htim3) != HAL_OK)
  {
    Error_Handler();
  }
  sClockSourceConfig.ClockSource = TIM_CLOCKSOURCE_INTERNAL;
  if (HAL_TIM_ConfigClockSource(&htim3, &sClockSourceConfig) != HAL_OK)
  {
    Error_Handler();
  }
  sMasterConfig.MasterOutputTrigger = TIM_TRGO_UPDATE;
  sMasterConfig.MasterSlaveMode = TIM_MASTERSLAVEMODE_DISABLE;
  if (HAL_TIMEx_MasterConfigSynchronization(&htim3, &sMasterConfig) != HAL_OK)
  {
    Error_Handler();
  }

}

static void MX_TIM6_Init(void)
{

  TIM_MasterConfigTypeDef sMasterConfig = {0};

  htim6.Instance = TIM6;
  htim6.Init.Prescaler = 1-1;
  htim6.Init.CounterMode = TIM_COUNTERMODE_UP;
  htim6.Init.Period = 1750-1;
  htim6.Init.AutoReloadPreload = TIM_AUTORELOAD_PRELOAD_DISABLE;
  if (HAL_TIM_Base_Init(&htim6) != HAL_OK)
  {
    Error_Handler();
  }
  sMasterConfig.MasterOutputTrigger = TIM_TRGO_UPDATE;
  sMasterConfig.MasterSlaveMode = TIM_MASTERSLAVEMODE_DISABLE;
  if (HAL_TIMEx_MasterConfigSynchronization(&htim6, &sMasterConfig) != HAL_OK)
  {
    Error_Handler();
  }

}

static void MX_TIM7_Init(void)
{

  TIM_MasterConfigTypeDef sMasterConfig = {0};

  htim7.Instance = TIM7;
  htim7.Init.Prescaler = 8400-1;
  htim7.Init.CounterMode = TIM_COUNTERMODE_UP;
  htim7.Init.Period = 5000-1;
  htim7.Init.AutoReloadPreload = TIM_AUTORELOAD_PRELOAD_DISABLE;
  if (HAL_TIM_Base_Init(&htim7) != HAL_OK)
  {
    Error_Handler();
  }
  sMasterConfig.MasterOutputTrigger = TIM_TRGO_UPDATE;
  sMasterConfig.MasterSlaveMode = TIM_MASTERSLAVEMODE_DISABLE;
  if (HAL_TIMEx_MasterConfigSynchronization(&htim7, &sMasterConfig) != HAL_OK)
  {
    Error_Handler();
  }

}

static void MX_TIM8_Init(void)
{

  TIM_ClockConfigTypeDef sClockSourceConfig = {0};
  TIM_MasterConfigTypeDef sMasterConfig = {0};

  htim8.Instance = TIM8;
  htim8.Init.Prescaler = 1-1;
  htim8.Init.CounterMode = TIM_COUNTERMODE_UP;
  htim8.Init.Period = 3500-1;
  htim8.Init.ClockDivision = TIM_CLOCKDIVISION_DIV1;
  htim8.Init.RepetitionCounter = 0;
  htim8.Init.AutoReloadPreload = TIM_AUTORELOAD_PRELOAD_DISABLE;
  if (HAL_TIM_Base_Init(&htim8) != HAL_OK)
  {
    Error_Handler();
  }
  sClockSourceConfig.ClockSource = TIM_CLOCKSOURCE_INTERNAL;
  if (HAL_TIM_ConfigClockSource(&htim8, &sClockSourceConfig) != HAL_OK)
  {
    Error_Handler();
  }
  sMasterConfig.MasterOutputTrigger = TIM_TRGO_UPDATE;
  sMasterConfig.MasterSlaveMode = TIM_MASTERSLAVEMODE_DISABLE;
  if (HAL_TIMEx_MasterConfigSynchronization(&htim8, &sMasterConfig) != HAL_OK)
  {
    Error_Handler();
  }

}

static void MX_TIM14_Init(void)
{

  htim14.Instance = TIM14;
  htim14.Init.Prescaler = 2000-1;
  htim14.Init.CounterMode = TIM_COUNTERMODE_UP;
  htim14.Init.Period = 42000-1;
  htim14.Init.ClockDivision = TIM_CLOCKDIVISION_DIV1;
  htim14.Init.AutoReloadPreload = TIM_AUTORELOAD_PRELOAD_DISABLE;
  if (HAL_TIM_Base_Init(&htim14) != HAL_OK)
  {
    Error_Handler();
  }

}

static void MX_UART4_Init(void)
{

  huart4.Instance = UART4;
  huart4.Init.BaudRate = 9600;
  huart4.Init.WordLength = UART_WORDLENGTH_8B;
  huart4.Init.StopBits = UART_STOPBITS_1;
  huart4.Init.Parity = UART_PARITY_NONE;
  huart4.Init.Mode = UART_MODE_TX_RX;
  huart4.Init.HwFlowCtl = UART_HWCONTROL_NONE;
  huart4.Init.OverSampling = UART_OVERSAMPLING_16;
  if (HAL_UART_Init(&huart4) != HAL_OK)
  {
    Error_Handler();
  }

}

static void MX_DMA_Init(void)
{

  /* DMA controller clock enable */
  __HAL_RCC_DMA1_CLK_ENABLE();
  __HAL_RCC_DMA2_CLK_ENABLE();

  /* DMA interrupt init */
  /* DMA1_Stream5_IRQn interrupt configuration */
  HAL_NVIC_SetPriority(DMA1_Stream5_IRQn, 0, 0);
  HAL_NVIC_EnableIRQ(DMA1_Stream5_IRQn);
  /* DMA2_Stream0_IRQn interrupt configuration */
  HAL_NVIC_SetPriority(DMA2_Stream0_IRQn, 0, 0);
  HAL_NVIC_EnableIRQ(DMA2_Stream0_IRQn);
  /* DMA2_Stream2_IRQn interrupt configuration */
  HAL_NVIC_SetPriority(DMA2_Stream2_IRQn, 0, 0);
  HAL_NVIC_EnableIRQ(DMA2_Stream2_IRQn);

}

static void MX_GPIO_Init(void)
{
  GPIO_InitTypeDef GPIO_InitStruct = {0};

  /* GPIO Ports Clock Enable */
  __HAL_RCC_GPIOC_CLK_ENABLE();
  __HAL_RCC_GPIOH_CLK_ENABLE();
  __HAL_RCC_GPIOA_CLK_ENABLE();
  __HAL_RCC_GPIOB_CLK_ENABLE();
  __HAL_RCC_GPIOD_CLK_ENABLE();

  /*Configure GPIO pin Output Level */
  HAL_GPIO_WritePin(GPIOC, RF_PWR_Pin|RF_PTT_Pin, GPIO_PIN_SET);

  /*Configure GPIO pin Output Level */
  HAL_GPIO_WritePin(GPIOC, COL_3_Pin|COL_2_Pin, GPIO_PIN_RESET);

  /*Configure GPIO pin Output Level */
  HAL_GPIO_WritePin(VIBR_GPIO_Port, VIBR_Pin, GPIO_PIN_RESET);

  /*Configure GPIO pin Output Level */
  HAL_GPIO_WritePin(GPIOB, COL_1_Pin|PWR_OFF_Pin|DISP_CE_Pin|DISP_DC_Pin
                          |DISP_RST_Pin|RF_ENA_Pin, GPIO_PIN_RESET);

  /*Configure GPIO pins : RF_PWR_Pin RF_PTT_Pin */
  GPIO_InitStruct.Pin = RF_PWR_Pin|RF_PTT_Pin;
  GPIO_InitStruct.Mode = GPIO_MODE_OUTPUT_PP;
  GPIO_InitStruct.Pull = GPIO_NOPULL;
  GPIO_InitStruct.Speed = GPIO_SPEED_FREQ_LOW;
  HAL_GPIO_Init(GPIOC, &GPIO_InitStruct);

  /*Configure GPIO pins : COL_3_Pin COL_2_Pin */
  GPIO_InitStruct.Pin = COL_3_Pin|COL_2_Pin;
  GPIO_InitStruct.Mode = GPIO_MODE_OUTPUT_PP;
  GPIO_InitStruct.Pull = GPIO_NOPULL;
  GPIO_InitStruct.Speed = GPIO_SPEED_FREQ_VERY_HIGH;
  HAL_GPIO_Init(GPIOC, &GPIO_InitStruct);

  /*Configure GPIO pin : VIBR_Pin */
  GPIO_InitStruct.Pin = VIBR_Pin;
  GPIO_InitStruct.Mode = GPIO_MODE_OUTPUT_PP;
  GPIO_InitStruct.Pull = GPIO_NOPULL;
  GPIO_InitStruct.Speed = GPIO_SPEED_FREQ_LOW;
  HAL_GPIO_Init(VIBR_GPIO_Port, &GPIO_InitStruct);

  /*Configure GPIO pins : CHG_Pin ROW_3_Pin ROW_2_Pin ROW_1_Pin */
  GPIO_InitStruct.Pin = CHG_Pin|ROW_3_Pin|ROW_2_Pin|ROW_1_Pin;
  GPIO_InitStruct.Mode = GPIO_MODE_INPUT;
  GPIO_InitStruct.Pull = GPIO_NOPULL;
  HAL_GPIO_Init(GPIOA, &GPIO_InitStruct);

  /*Configure GPIO pins : COL_1_Pin DISP_CE_Pin DISP_DC_Pin DISP_RST_Pin */
  GPIO_InitStruct.Pin = COL_1_Pin|DISP_CE_Pin|DISP_DC_Pin|DISP_RST_Pin;
  GPIO_InitStruct.Mode = GPIO_MODE_OUTPUT_PP;
  GPIO_InitStruct.Pull = GPIO_NOPULL;
  GPIO_InitStruct.Speed = GPIO_SPEED_FREQ_VERY_HIGH;
  HAL_GPIO_Init(GPIOB, &GPIO_InitStruct);

  /*Configure GPIO pins : PWR_OFF_Pin RF_ENA_Pin */
  GPIO_InitStruct.Pin = PWR_OFF_Pin|RF_ENA_Pin;
  GPIO_InitStruct.Mode = GPIO_MODE_OUTPUT_PP;
  GPIO_InitStruct.Pull = GPIO_NOPULL;
  GPIO_InitStruct.Speed = GPIO_SPEED_FREQ_LOW;
  HAL_GPIO_Init(GPIOB, &GPIO_InitStruct);

  /*Configure GPIO pins : ROW_5_Pin ROW_4_Pin */
  GPIO_InitStruct.Pin = ROW_5_Pin|ROW_4_Pin;
  GPIO_InitStruct.Mode = GPIO_MODE_INPUT;
  GPIO_InitStruct.Pull = GPIO_NOPULL;
  HAL_GPIO_Init(GPIOC, &GPIO_InitStruct);

  /*Configure GPIO pin : BTN_OK_Pin */
  GPIO_InitStruct.Pin = BTN_OK_Pin;
  GPIO_InitStruct.Mode = GPIO_MODE_IT_RISING;
  GPIO_InitStruct.Pull = GPIO_PULLDOWN;
  HAL_GPIO_Init(BTN_OK_GPIO_Port, &GPIO_InitStruct);

}

void Error_Handler(void)
{
  /* USER CODE BEGIN Error_Handler_Debug */
  /* User can add his own implementation to report the HAL error return state */
  __disable_irq();
  RF_ENA_GPIO_Port->BSRR = (uint32_t)RF_ENA_Pin << 16U; //never leave the transmitter on
  while (1)
  {
  }
  /* USER CODE END Error_Handler_Debug */
}
